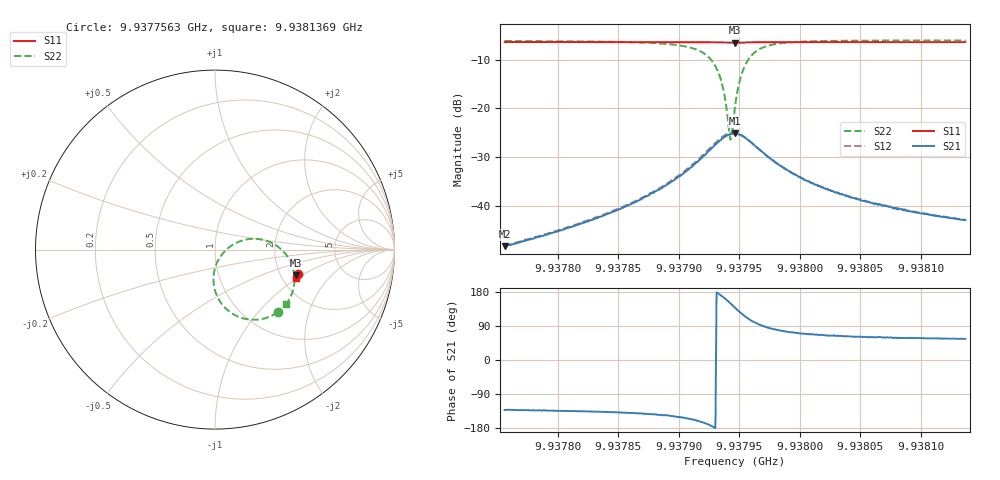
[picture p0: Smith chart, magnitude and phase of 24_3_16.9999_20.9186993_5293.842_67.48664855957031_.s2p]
#  HZ  S  RI  R  50.00
! Rohde & Schwarz Vector Network Analyzer
! Rohde-Schwarz,ZNB20-2Port,1311601062101988,3.16
! Created: UTC 3/20/2024, 10:53:07 PM
! freq[Hz]  re:S11  im:S11  re:S21  im:S21  re:S12  im:S12  re:S22  im:S22
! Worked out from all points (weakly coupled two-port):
!   401 points, 9.9377563 GHz to 9.9381369 GHz, reference 50 ohm
!   highest |S21| = -25.13 dB at 9.9379466 GHz (marker M1); lowest = -48.3 dB at 9.9377563 GHz (marker M2)
!   lowest |S11| = -6.5 dB at 9.9379466 GHz (marker M3), VSWR 2.80, Z = 121 - j44.8 ohm
!   |S11| at or under -10 dB: nowhere
!   |S22| runs from -26.4 to -6.0 dB; largest |S21 - S12| = 0.0037
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9.93775626e9  0.4619 -0.1357  -0.00257 -0.00288  -0.00263 -0.00288  0.3495 -0.3481
9.93782001e9  0.46 -0.1402  -0.00469 -0.00466  -0.00482 -0.00467  0.3268 -0.3626
9.93785332e9  0.4591 -0.1426  -0.00712 -0.00629  -0.00741 -0.00634  0.3032 -0.3742
9.93788376e9  0.4576 -0.145  -0.0119 -0.0085  -0.0124 -0.0086  0.2593 -0.3873
9.93790945e9  0.4559 -0.147  -0.0223 -0.0102  -0.0232 -0.00985  0.1711 -0.3864
9.93792373e9  0.454 -0.148  -0.0348 -0.00684  -0.0364 -0.00575  0.0722 -0.3385
9.93792944e9  0.453 -0.1479  -0.0415 -0.00142  -0.0432 6.75e-06  0.0247 -0.2841
9.93793419e9  0.4521 -0.1472  -0.0466 0.00622  -0.0482 0.00856  -0.00422 -0.2106
9.93793705e9  0.4517 -0.1468  -0.0486 0.0125  -0.0497 0.0157  -0.0084 -0.1545
9.9379418e9  0.4511 -0.1456  -0.048 0.025  -0.0479 0.0287  0.0213 -0.0531
9.93794276e9  0.4512 -0.1453  -0.0471 0.0279  -0.0468 0.0314  0.034 -0.0338
9.93794466e9  0.4515 -0.1449  -0.0447 0.0326  -0.0437 0.0362  0.0641 0.000388
9.93794656e9  0.4515 -0.1443  -0.0412 0.037  -0.0396 0.0402  0.1003 0.0277
9.93794942e9  0.4523 -0.1439  -0.0345 0.0419  -0.0327 0.0445  0.1614 0.0533
9.93795322e9  0.4532 -0.1434  -0.0252 0.045  -0.0229 0.0468  0.2412 0.0588
9.93795703e9  0.4541 -0.1435  -0.0164 0.045  -0.0141 0.0461  0.308 0.0411
9.93796274e9  0.4551 -0.1441  -0.00677 0.0411  -0.00483 0.0415  0.3759 -0.00521
9.93798367e9  0.4565 -0.147  0.00552 0.0254  0.00615 0.0252  0.442 -0.1477
9.93801031e9  0.456 -0.1499  0.00643 0.0159  0.00688 0.0157  0.435 -0.2249
9.93804171e9  0.4554 -0.1525  0.00565 0.011  0.00593 0.0108  0.4205 -0.2639
9.93807406e9  0.4544 -0.1548  0.00498 0.00836  0.00513 0.00848  0.4095 -0.2842
9.93813686e9  0.4528 -0.1591  0.004 0.0059  0.00412 0.00589  0.3952 -0.3052
